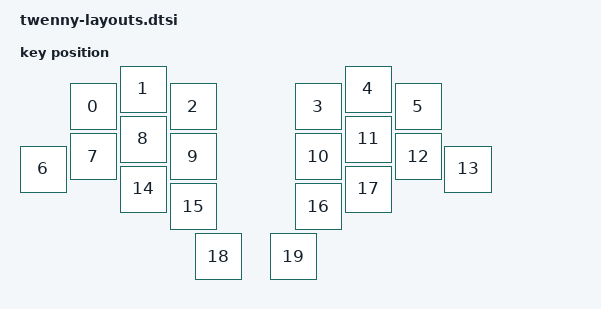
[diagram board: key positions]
#include <physical_layouts.dtsi>
/ {
    twenny_physical_layout: twenny_physical_layout {
        compatible = "zmk,physical-layout";
        display-name = "twenny";
        kscan = <&kscan0>;
        transform = <&default_transform>;

        keys  //                     w   h    x    y     rot    rx    ry
            = <&key_physical_attrs 100 100  100   50       0     0     0>
            , <&key_physical_attrs 100 100  200   15       0     0     0>
            , <&key_physical_attrs 100 100  300   50       0     0     0>
            , <&key_physical_attrs 100 100  550   50       0     0     0>
            , <&key_physical_attrs 100 100  650   15       0     0     0>
            , <&key_physical_attrs 100 100  750   50       0     0     0>
            , <&key_physical_attrs 100 100    0  175       0     0     0>
            , <&key_physical_attrs 100 100  100  150       0     0     0>
            , <&key_physical_attrs 100 100  200  115       0     0     0>
            , <&key_physical_attrs 100 100  300  150       0     0     0>
            , <&key_physical_attrs 100 100  550  150       0     0     0>
            , <&key_physical_attrs 100 100  650  115       0     0     0>
            , <&key_physical_attrs 100 100  750  150       0     0     0>
            , <&key_physical_attrs 100 100  850  175       0     0     0>
            , <&key_physical_attrs 100 100  200  215       0     0     0>
            , <&key_physical_attrs 100 100  300  250       0     0     0>
            , <&key_physical_attrs 100 100  550  250       0     0     0>
            , <&key_physical_attrs 100 100  650  215       0     0     0>
            , <&key_physical_attrs 100 100  350  350       0     0     0>
            , <&key_physical_attrs 100 100  500  350       0     0     0>
            ;
    };

    position_map {
        compatible = "zmk,physical-layout-position-map";

        complete;

        twenny_physical_layout {
            physical-layout = <&twenny_physical_layout>;
            positions = < 0  1  2  3  4  5>
		   , < 6  7  8  9  10 11 12 13>
		  	, <  14 15 16 17>
			    , < 18 19>;
        };
    };
};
